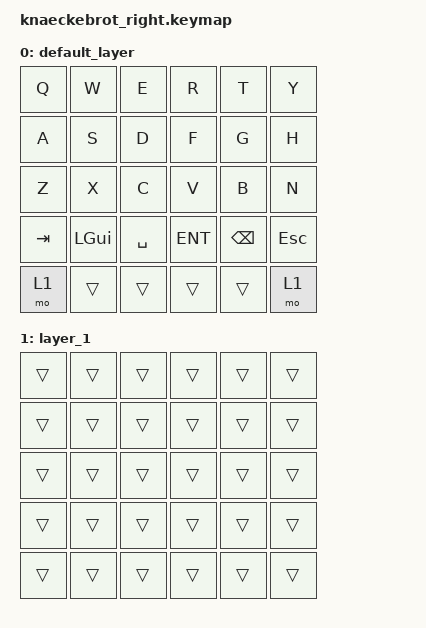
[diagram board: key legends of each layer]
/ {
    keymap {
        compatible = "zmk,keymap";
        default_layer {
            bindings = <
                &kp Q  &kp W  &kp E  &kp R  &kp T  &kp Y
                &kp A  &kp S  &kp D  &kp F  &kp G  &kp H
                &kp Z  &kp X  &kp C  &kp V  &kp B  &kp N
                &kp TAB &kp LGUI &kp SPC &kp ENT &kp BSPC &kp ESC
                &mo 1   &trans  &trans  &trans  &trans  &mo 1
            >;
        };
        layer_1 {
            bindings = < &trans &trans &trans &trans &trans &trans
                         &trans &trans &trans &trans &trans &trans
                         &trans &trans &trans &trans &trans &trans
                         &trans &trans &trans &trans &trans &trans
                         &trans &trans &trans &trans &trans &trans >;
        };
    };
};
